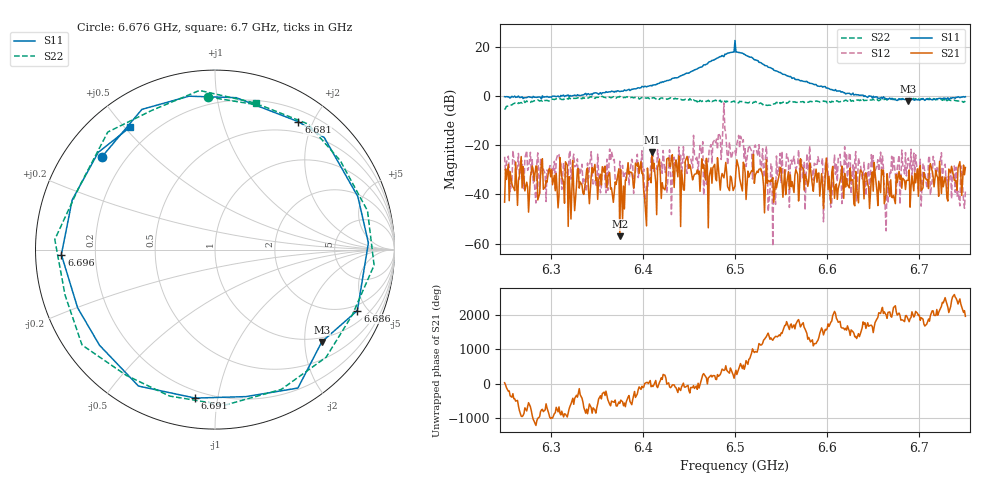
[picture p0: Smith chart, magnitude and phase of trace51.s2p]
# Hz S RI R 50
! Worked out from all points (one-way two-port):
!   401 points, 6.25 GHz to 6.75 GHz, reference 50 ohm
!   highest |S21| = -22.89 dB at 6.41 GHz (marker M1); lowest = -57.1 dB at 6.375 GHz (marker M2)
!   lowest |S11| = -2.1 dB at 6.688 GHz (marker M3), VSWR 8.36, Z = 44.6 - j120 ohm
!   |S11| at or under -10 dB: nowhere
!   |S22| runs from -5.5 to -0.1 dB; largest |S21 - S12| = 0.71
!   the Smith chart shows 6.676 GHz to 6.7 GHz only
!   S11 on the Smith chart (normalised r, x): 6.676 GHz: 0.12, +0.35; 6.681 GHz: 0.35, +1.79; 6.686 GHz: 1.62, -4.30; 6.691 GHz: 0.16, -0.86; 6.696 GHz: 0.08, -0.02; 6.7 GHz: 0.12, +0.52
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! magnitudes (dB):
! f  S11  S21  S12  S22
! 6.25 GHz  -0.3  -43.1  -24.7  -5.5
! 6.334 GHz  0.4  -36.2  -27.7  -1.1
! 6.375 GHz  1.8  -57.1  -26.5  -0.1
! 6.395 GHz  3.4  -27.1  -33.2  -0.6
! 6.405 GHz  3.9  -29.3  -38.4  -0.7
! 6.41 GHz  4.1  -22.9  -24.5  -0.8
! 6.418 GHz  5.2  -25.6  -29.9  -1.3
! 6.5 GHz  22.6  -36.6  -22.2  -2.4
! 6.524 GHz  14.5  -30.5  -23.1  -2.7
! 6.539 GHz  11.4  -34.1  -27.6  -3.6
! 6.549 GHz  9.6  -29.0  -23.3  -3.0
! 6.584 GHz  5.0  -36.3  -30.5  -2.3
! 6.668 GHz  -0.8  -40.8  -30.4  -1.5
! 6.676 GHz  -1.8  -35.2  -29.3  -1.4
! 6.681 GHz  -1.4  -37.5  -21.9  -1.1
! 6.686 GHz  -1.3  -34.4  -32.5  -1.3
! 6.688 GHz  -2.1  -34.2  -25.2  -1.2
! 6.691 GHz  -1.6  -36.9  -21.6  -0.8
! 6.696 GHz  -1.3  -35.3  -23.9  -1.0
! 6.7 GHz  -1.6  -29.7  -30.1  -1.4
! 6.725 GHz  -1.2  -32.9  -35.3  -1.7
! 6.75 GHz  -0.2  -29.1  -38.8  -2.3
